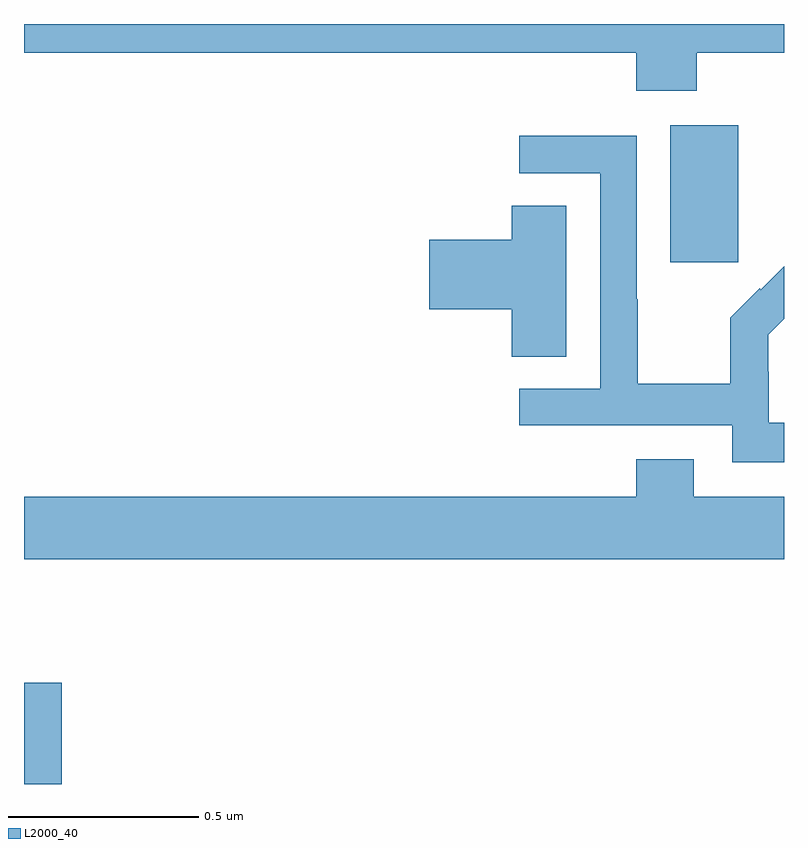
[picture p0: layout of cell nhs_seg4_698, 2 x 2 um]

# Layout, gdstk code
import gdstk
lib = gdstk.Library(unit=1e-6, precision=1e-09)
def R(c, l, rs):  # rectangles x0, y0, x1, y1
    for r in rs: c.add(gdstk.rectangle(r[:2], r[2:], *l))
def P(c, l, *ps):  # polygons
    for p in ps: c.add(gdstk.Polygon(p, *l))
L2000_40 = (2000, 40)

nhs_seg4_698 = lib.new_cell('nhs_seg4_698')
R(nhs_seg4_698, L2000_40, [(119,790.9,119.099,791.167), (120.701,792.273,120.88,792.634)])
P(nhs_seg4_698, L2000_40, [(120.771,792.824),(121,792.824),(121,792.9),(119,792.9),(119,792.824),(120.611,792.824),(120.611,792.725),(120.771,792.725)],
  [(121,791.851),(120.96,791.851),(120.96,791.985),(120.958,791.985),(120.958,792.082),(121,792.124),(121,792.262),(120.939,792.201),(120.936,792.204),(120.859,792.127),(120.859,791.953),(120.615,791.953),(120.615,792.176),(120.612,792.176),(120.612,792.606),(120.303,792.606),(120.303,792.507),(120.516,792.507),(120.516,791.94),(120.303,791.94),(120.303,791.844),(120.864,791.844),(120.864,791.747),(121,791.747)],
  [(120.427,792.422),(120.284,792.422),(120.284,792.332),(120.066,792.332),(120.066,792.149),(120.284,792.149),(120.284,792.025),(120.427,792.025)],
  [(121,791.656),(120.763,791.656),(120.763,791.755),(120.611,791.755),(120.611,791.656),(119,791.656),(119,791.492),(121,791.492)])

lib.write_gds('nhs_seg4_698.gds')
